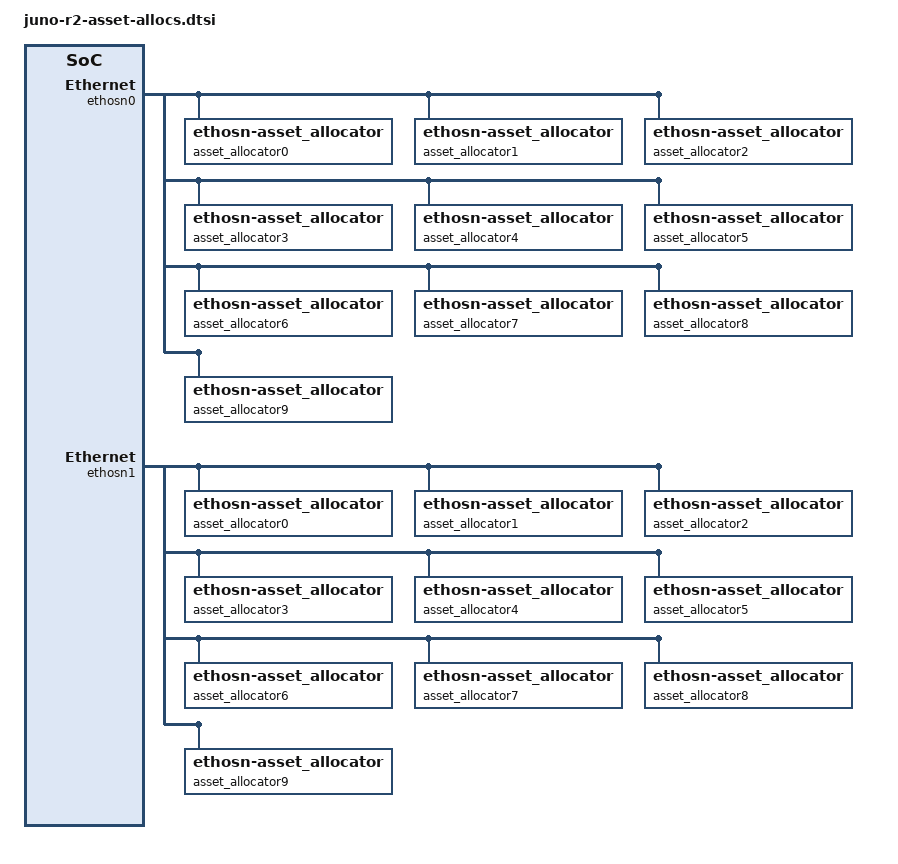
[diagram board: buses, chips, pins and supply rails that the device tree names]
/*
 *
 * (C) COPYRIGHT 2022 Arm Limited.
 *
 * This program is free software and is provided to you under the terms of the
 * GNU General Public License version 2 as published by the Free Software
 * Foundation, and any use by you of this program is subject to the terms
 * of such GNU licence.
 *
 * This program is distributed in the hope that it will be useful,
 * but WITHOUT ANY WARRANTY; without even the implied warranty of
 * MERCHANTABILITY or FITNESS FOR A PARTICULAR PURPOSE. See the
 * GNU General Public License for more details.
 *
 * You should have received a copy of the GNU General Public License
 * along with this program; if not, you can access it online at
 * http://www.gnu.org/licenses/gpl-2.0.html.
 *
 * SPDX-License-Identifier: GPL-2.0-only
 *
 */

 /*
 * Note:- Include for adding multiple asset allocators to smmu use cases, the
 * number of asset allocators added is implementor defined.
 */
&ethosn0 {
	asset_allocator0 {
		compatible = "ethosn-asset_allocator";
		status = "okay";

		command_stream {
			compatible = "ethosn-memory";
			iommus = <&smmu_ethosn0 4>;
		};

		weight_data {
			compatible = "ethosn-memory";
			iommus = <&smmu_ethosn0 5>;
		};

		buffer_data {
			compatible = "ethosn-memory";
			iommus = <&smmu_ethosn0 6>;
		};

		intermediate_data {
			compatible = "ethosn-memory";
			iommus = <&smmu_ethosn0 7>;
		};
	};

	asset_allocator1 {
		compatible = "ethosn-asset_allocator";
		status = "okay";

		command_stream {
			compatible = "ethosn-memory";
			iommus = <&smmu_ethosn0 8>;
		};

		weight_data {
			compatible = "ethosn-memory";
			iommus = <&smmu_ethosn0 9>;
		};

		buffer_data {
			compatible = "ethosn-memory";
			iommus = <&smmu_ethosn0 10>;
		};

		intermediate_data {
			compatible = "ethosn-memory";
			iommus = <&smmu_ethosn0 11>;
		};
	};

	asset_allocator2 {
		compatible = "ethosn-asset_allocator";
		status = "okay";

		command_stream {
			compatible = "ethosn-memory";
			iommus = <&smmu_ethosn0 12>;
		};

		weight_data {
			compatible = "ethosn-memory";
			iommus = <&smmu_ethosn0 13>;
		};

		buffer_data {
			compatible = "ethosn-memory";
			iommus = <&smmu_ethosn0 14>;
		};

		intermediate_data {
			compatible = "ethosn-memory";
			iommus = <&smmu_ethosn0 15>;
		};
	};

	asset_allocator3 {
		compatible = "ethosn-asset_allocator";
		status = "okay";

		command_stream {
			compatible = "ethosn-memory";
			iommus = <&smmu_ethosn0 16>;
		};

		weight_data {
			compatible = "ethosn-memory";
			iommus = <&smmu_ethosn0 17>;
		};

		buffer_data {
			compatible = "ethosn-memory";
			iommus = <&smmu_ethosn0 18>;
		};

		intermediate_data {
			compatible = "ethosn-memory";
			iommus = <&smmu_ethosn0 19>;
		};
	};

	asset_allocator4 {
		compatible = "ethosn-asset_allocator";
		status = "okay";

		command_stream {
			compatible = "ethosn-memory";
			iommus = <&smmu_ethosn0 20>;
		};

		weight_data {
			compatible = "ethosn-memory";
			iommus = <&smmu_ethosn0 21>;
		};

		buffer_data {
			compatible = "ethosn-memory";
			iommus = <&smmu_ethosn0 22>;
		};

		intermediate_data {
			compatible = "ethosn-memory";
			iommus = <&smmu_ethosn0 23>;
		};
	};

	asset_allocator5 {
		compatible = "ethosn-asset_allocator";
		status = "okay";

		command_stream {
			compatible = "ethosn-memory";
			iommus = <&smmu_ethosn0 24>;
		};

		weight_data {
			compatible = "ethosn-memory";
			iommus = <&smmu_ethosn0 25>;
		};

		buffer_data {
			compatible = "ethosn-memory";
			iommus = <&smmu_ethosn0 26>;
		};

		intermediate_data {
			compatible = "ethosn-memory";
			iommus = <&smmu_ethosn0 27>;
		};
	};

	asset_allocator6 {
		compatible = "ethosn-asset_allocator";
		status = "okay";

		command_stream {
			compatible = "ethosn-memory";
			iommus = <&smmu_ethosn0 28>;
		};

		weight_data {
			compatible = "ethosn-memory";
			iommus = <&smmu_ethosn0 29>;
		};

		buffer_data {
			compatible = "ethosn-memory";
			iommus = <&smmu_ethosn0 30>;
		};

		intermediate_data {
			compatible = "ethosn-memory";
			iommus = <&smmu_ethosn0 31>;
		};
	};

	asset_allocator7 {
		compatible = "ethosn-asset_allocator";
		status = "okay";

		command_stream {
			compatible = "ethosn-memory";
			iommus = <&smmu_ethosn0 32>;
		};

		weight_data {
			compatible = "ethosn-memory";
			iommus = <&smmu_ethosn0 33>;
		};

		buffer_data {
			compatible = "ethosn-memory";
			iommus = <&smmu_ethosn0 34>;
		};

		intermediate_data {
			compatible = "ethosn-memory";
			iommus = <&smmu_ethosn0 35>;
		};
	};

	asset_allocator8 {
		compatible = "ethosn-asset_allocator";
		status = "okay";

		command_stream {
			compatible = "ethosn-memory";
			iommus = <&smmu_ethosn0 36>;
		};

		weight_data {
			compatible = "ethosn-memory";
			iommus = <&smmu_ethosn0 37>;
		};

		buffer_data {
			compatible = "ethosn-memory";
			iommus = <&smmu_ethosn0 38>;
		};

		intermediate_data {
			compatible = "ethosn-memory";
			iommus = <&smmu_ethosn0 39>;
		};
	};

	asset_allocator9 {
		compatible = "ethosn-asset_allocator";
		status = "okay";

		command_stream {
			compatible = "ethosn-memory";
			iommus = <&smmu_ethosn0 40>;
		};

		weight_data {
			compatible = "ethosn-memory";
			iommus = <&smmu_ethosn0 41>;
		};

		buffer_data {
			compatible = "ethosn-memory";
			iommus = <&smmu_ethosn0 42>;
		};

		intermediate_data {
			compatible = "ethosn-memory";
			iommus = <&smmu_ethosn0 43>;
		};
	};
};

&ethosn1 {
	asset_allocator0 {
		compatible = "ethosn-asset_allocator";
		status = "okay";

		command_stream {
			compatible = "ethosn-memory";
			iommus = <&smmu_ethosn1 4>;
		};

		weight_data {
			compatible = "ethosn-memory";
			iommus = <&smmu_ethosn1 5>;
		};

		buffer_data {
			compatible = "ethosn-memory";
			iommus = <&smmu_ethosn1 6>;
		};

		intermediate_data {
			compatible = "ethosn-memory";
			iommus = <&smmu_ethosn1 7>;
		};
	};

	asset_allocator1 {
		compatible = "ethosn-asset_allocator";
		status = "okay";

		command_stream {
			compatible = "ethosn-memory";
			iommus = <&smmu_ethosn1 8>;
		};

		weight_data {
			compatible = "ethosn-memory";
			iommus = <&smmu_ethosn1 9>;
		};

		buffer_data {
			compatible = "ethosn-memory";
			iommus = <&smmu_ethosn1 10>;
		};

		intermediate_data {
			compatible = "ethosn-memory";
			iommus = <&smmu_ethosn1 11>;
		};
	};

	asset_allocator2 {
		compatible = "ethosn-asset_allocator";
		status = "okay";

		command_stream {
			compatible = "ethosn-memory";
			iommus = <&smmu_ethosn1 12>;
		};

		weight_data {
			compatible = "ethosn-memory";
			iommus = <&smmu_ethosn1 13>;
		};

		buffer_data {
			compatible = "ethosn-memory";
			iommus = <&smmu_ethosn1 14>;
		};

		intermediate_data {
			compatible = "ethosn-memory";
			iommus = <&smmu_ethosn1 15>;
		};
	};

	asset_allocator3 {
		compatible = "ethosn-asset_allocator";
		status = "okay";

		command_stream {
			compatible = "ethosn-memory";
			iommus = <&smmu_ethosn1 16>;
		};

		weight_data {
			compatible = "ethosn-memory";
			iommus = <&smmu_ethosn1 17>;
		};

		buffer_data {
			compatible = "ethosn-memory";
			iommus = <&smmu_ethosn1 18>;
		};

		intermediate_data {
			compatible = "ethosn-memory";
			iommus = <&smmu_ethosn1 19>;
		};
	};

	asset_allocator4 {
		compatible = "ethosn-asset_allocator";
		status = "okay";

		command_stream {
			compatible = "ethosn-memory";
			iommus = <&smmu_ethosn1 20>;
		};

		weight_data {
			compatible = "ethosn-memory";
			iommus = <&smmu_ethosn1 21>;
		};

		buffer_data {
			compatible = "ethosn-memory";
			iommus = <&smmu_ethosn1 22>;
		};

		intermediate_data {
			compatible = "ethosn-memory";
			iommus = <&smmu_ethosn1 23>;
		};
	};

	asset_allocator5 {
		compatible = "ethosn-asset_allocator";
		status = "okay";

		command_stream {
			compatible = "ethosn-memory";
			iommus = <&smmu_ethosn1 24>;
		};

		weight_data {
			compatible = "ethosn-memory";
			iommus = <&smmu_ethosn1 25>;
		};

		buffer_data {
			compatible = "ethosn-memory";
			iommus = <&smmu_ethosn1 26>;
		};

		intermediate_data {
			compatible = "ethosn-memory";
			iommus = <&smmu_ethosn1 27>;
		};
	};

	asset_allocator6 {
		compatible = "ethosn-asset_allocator";
		status = "okay";

		command_stream {
			compatible = "ethosn-memory";
			iommus = <&smmu_ethosn1 28>;
		};

		weight_data {
			compatible = "ethosn-memory";
			iommus = <&smmu_ethosn1 29>;
		};

		buffer_data {
			compatible = "ethosn-memory";
			iommus = <&smmu_ethosn1 30>;
		};

		intermediate_data {
			compatible = "ethosn-memory";
			iommus = <&smmu_ethosn1 31>;
		};
	};

	asset_allocator7 {
		compatible = "ethosn-asset_allocator";
		status = "okay";

		command_stream {
			compatible = "ethosn-memory";
			iommus = <&smmu_ethosn1 32>;
		};

		weight_data {
			compatible = "ethosn-memory";
			iommus = <&smmu_ethosn1 33>;
		};

		buffer_data {
			compatible = "ethosn-memory";
			iommus = <&smmu_ethosn1 34>;
		};

		intermediate_data {
			compatible = "ethosn-memory";
			iommus = <&smmu_ethosn1 35>;
		};
	};

	asset_allocator8 {
		compatible = "ethosn-asset_allocator";
		status = "okay";

		command_stream {
			compatible = "ethosn-memory";
			iommus = <&smmu_ethosn1 36>;
		};

		weight_data {
			compatible = "ethosn-memory";
			iommus = <&smmu_ethosn1 37>;
		};

		buffer_data {
			compatible = "ethosn-memory";
			iommus = <&smmu_ethosn1 38>;
		};

		intermediate_data {
			compatible = "ethosn-memory";
			iommus = <&smmu_ethosn1 39>;
		};
	};

	asset_allocator9 {
		compatible = "ethosn-asset_allocator";
		status = "okay";

		command_stream {
			compatible = "ethosn-memory";
			iommus = <&smmu_ethosn1 40>;
		};

		weight_data {
			compatible = "ethosn-memory";
			iommus = <&smmu_ethosn1 41>;
		};

		buffer_data {
			compatible = "ethosn-memory";
			iommus = <&smmu_ethosn1 42>;
		};

		intermediate_data {
			compatible = "ethosn-memory";
			iommus = <&smmu_ethosn1 43>;
		};
	};
};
